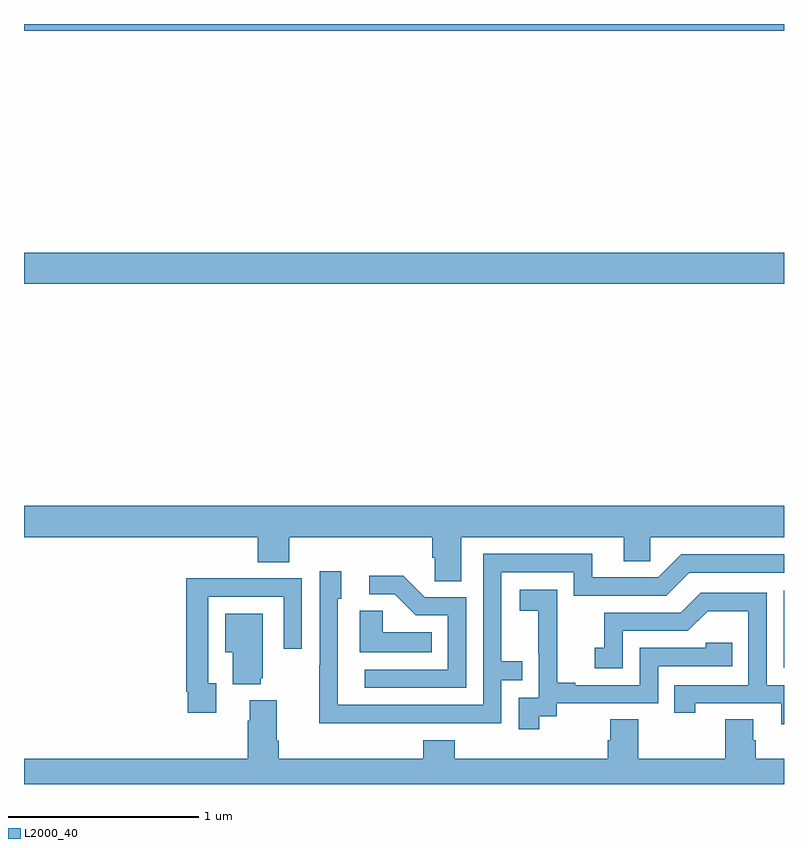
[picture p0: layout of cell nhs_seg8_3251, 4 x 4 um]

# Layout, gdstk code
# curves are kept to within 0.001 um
import gdstk
lib = gdstk.Library(unit=1e-6, precision=1e-09)
def R(c, l, rs):  # rectangles x0, y0, x1, y1
    for r in rs: c.add(gdstk.rectangle(r[:2], r[2:], *l))
def P(c, l, *ps):  # polygons
    for p in ps: c.add(gdstk.Polygon(p, *l))
L2000_40 = (2000, 40)

nhs_seg8_3251 = lib.new_cell('nhs_seg8_3251')
R(nhs_seg8_3251, L2000_40, [(316.998,1082.511,317,1082.917), (313,1084.532,317,1084.696), (313,1085.864,317,1085.9)])
P(nhs_seg8_3251, L2000_40, [(315.301,1083.2),(316.157,1083.2),(316.157,1083.073),(316.296,1083.073),(316.296,1083.2),(317,1083.2),(317,1083.364),(313,1083.364),(313,1083.2),(314.231,1083.2),(314.231,1083.067),(314.396,1083.067),(314.396,1083.2),(315.149,1083.2),(315.149,1083.091),(315.162,1083.091),(315.162,1082.968),(315.301,1082.968)],
  [(315.017,1082.22),(315.513,1082.22),(315.513,1082.445),(315.623,1082.445),(315.623,1082.546),(315.513,1082.546),(315.513,1083.015),(315.894,1083.015),(315.894,1082.892),(316.38,1082.892),(316.5,1083.012),(317,1083.012),(317,1083.108),(316.458,1083.108),(316.338,1082.988),(315.991,1082.988),(315.991,1083.111),(315.417,1083.111),(315.417,1082.316),(314.652,1082.316),(314.652,1082.874),(314.671,1082.874),(314.671,1083.019),(314.556,1083.019),(314.556,1082.525),(314.554,1082.525),(314.554,1082.219)],
  [(315.327,1082.883),(315.108,1082.883),(314.995,1082.996),(314.817,1082.996),(314.817,1082.898),(314.951,1082.898),(315.062,1082.787),(315.231,1082.787),(315.231,1082.502),(314.793,1082.502),(314.793,1082.406),(315.327,1082.406)],
  [(314.011,1082.43),(313.971,1082.43),(313.971,1082.886),(314.367,1082.886),(314.367,1082.613),(314.463,1082.613),(314.463,1082.982),(314.147,1082.982),(314.147,1082.984),(313.855,1082.984),(313.855,1082.386),(313.863,1082.386),(313.863,1082.274),(314.011,1082.274)],
  [(315.712,1082.257),(315.804,1082.257),(315.804,1082.325),(316.338,1082.325),(316.338,1082.52),(316.727,1082.52),(316.727,1082.643),(316.587,1082.643),(316.587,1082.616),(316.242,1082.616),(316.242,1082.421),(315.901,1082.421),(315.901,1082.434),(315.806,1082.434),(315.806,1082.717),(315.807,1082.717),(315.807,1082.923),(315.609,1082.923),(315.609,1082.813),(315.707,1082.813),(315.707,1082.585),(315.708,1082.585),(315.708,1082.355),(315.603,1082.355),(315.603,1082.187),(315.712,1082.187)],
  [(317,1082.421),(316.908,1082.421),(316.908,1082.907),(316.562,1082.907),(316.457,1082.802),(316.054,1082.802),(316.054,1082.617),(316.005,1082.617),(316.005,1082.508),(316.152,1082.508),(316.152,1082.706),(316.494,1082.706),(316.598,1082.81),(316.812,1082.81),(316.812,1082.421),(316.423,1082.421),(316.423,1082.274),(316.534,1082.274),(316.534,1082.325),(316.985,1082.325),(316.985,1082.214),(317,1082.214)],
  [(315.146,1082.698),(314.889,1082.698),(314.889,1082.813),(314.768,1082.813),(314.768,1082.594),(315.146,1082.594)],
  [(314.246,1082.457),(314.257,1082.457),(314.257,1082.797),(314.06,1082.797),(314.06,1082.594),(314.099,1082.594),(314.099,1082.426),(314.246,1082.426)],
  [(313,1081.9),(317,1081.9),(317,1082.032),(316.85,1082.032),(316.85,1082.13),(316.837,1082.13),(316.837,1082.24),(316.69,1082.24),(316.69,1082.032),(316.233,1082.032),(316.233,1082.24),(316.085,1082.24),(316.085,1082.13),(316.073,1082.13),(316.073,1082.032),(315.266,1082.032),(315.266,1082.131),(315.101,1082.131),(315.101,1082.032),(314.342,1082.032),(314.342,1082.128),(314.329,1082.128),(314.329,1082.341),(314.189,1082.341),(314.189,1082.234),(314.177,1082.234),(314.177,1082.032),(313,1082.032)])

lib.write_gds('nhs_seg8_3251.gds')
